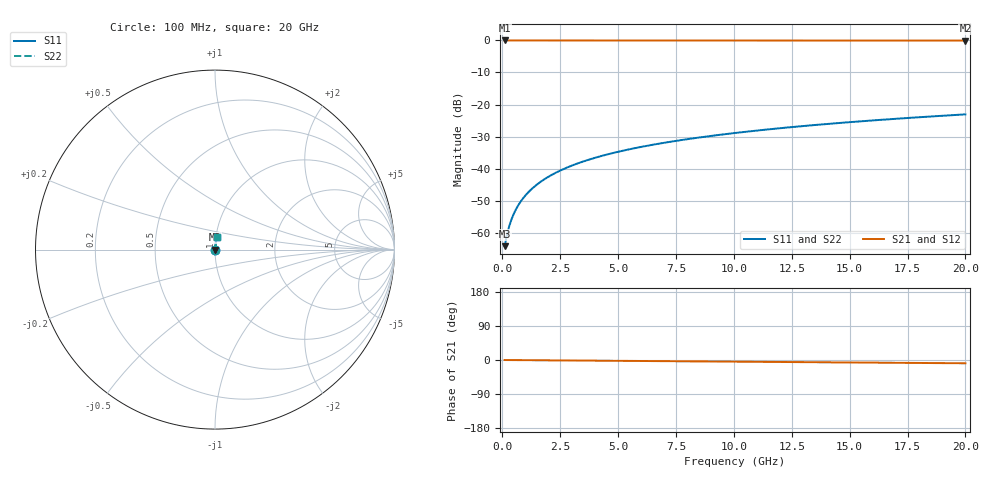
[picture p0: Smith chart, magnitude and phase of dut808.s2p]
! Touchstone file exported from HFSS 2026.1.0
!  File:  C:/ffzhzh/LocalFiles/Ansys_Project_Files/temp_train_TSV_808_1783184231_22436.aedt
!  Generated:  12:58:58 AM Jul  5, 2026
!  Design:  TSV
!  Project:  temp_train_TSV_808_1783184231_22436
! Variables:
!  h_bsmrdl = 2um
!  h_ox = 20um
!  h_rdl = 5um
!  h_sub = 75.9um
!  h_tmrdl = 5um
!  h_tsv = 75.9um
!  h_via = 3um
!  l_bsmrdl = 300um
!  l_sub = 408.84um
!  l_tmrdl = 200um
!  m_sub = 200um
!  pitch = 37.96um
!  r_tsv = 4.42um
!  s_tmrdl = 10um
!  w_bsmrdl = 18um
!  w_sub = 500um
!  w_tmrdl = 12um
!  x_tsv_center1 = 206um
!  x_tsv_center2 = 524um
!  x_tsv_center3 = 736um
!  x_tsv_center4 = 1054um
!  x_tsv_center5 = 1266um
!  x_tsv_center6 = 1584um
# GHz S MA R 50.000000
! Terminal data exported
! Port[1] = TSV1_1_T1
! Port[2] = TSV1_1_T2
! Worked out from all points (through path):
!   200 points, 100 MHz to 20 GHz, reference 50 ohm
!   highest |S21| = 0.00 dB at 100 MHz (marker M1); lowest = 0.0 dB at 20 GHz (marker M2)
!   group delay of S21, straight-line fit = 1.2 ps
!   lowest |S11| = -64.2 dB at 100 MHz (marker M3), VSWR 1.00, Z = 50 + j0.0392 ohm
!   |S11| at or under -10 dB: start of sweep to end of sweep
!   |S22| runs from -64.2 to -23.1 dB; largest |S21 - S12| = 5.5e-15
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0.1  0.000616 39.5  0.9995 -0.0  0.9995 -0.0  0.000616 39.5
! Gamma 0 0 0 0
! Port Impedance 50 0 50 0
0.2  0.0009188 58.0  0.9995 -0.1  0.9995 -0.1  0.0009188 58.0
0.3  0.001265 66.6  0.9995 -0.1  0.9995 -0.1  0.001265 66.6
0.4  0.001624 71.4  0.9995 -0.2  0.9995 -0.2  0.001624 71.4
0.5  0.001987 74.4  0.9995 -0.2  0.9995 -0.2  0.001987 74.4
0.6  0.002351 76.5  0.9995 -0.3  0.9995 -0.3  0.002351 76.5
0.8  0.003082 79.1  0.9994 -0.4  0.9994 -0.4  0.003082 79.1
1.1  0.004183 81.4  0.9994 -0.5  0.9994 -0.5  0.004183 81.4
1.5  0.005653 82.9  0.9993 -0.7  0.9993 -0.7  0.005653 82.9
1.8  0.006755 83.5  0.9993 -0.8  0.9993 -0.8  0.006755 83.5
2.1  0.007855 83.9  0.9993 -0.9  0.9993 -0.9  0.007855 83.9
2.7  0.01004 84.3  0.9992 -1.2  0.9992 -1.2  0.01004 84.3
3.5  0.01294 84.5  0.999 -1.6  0.999 -1.6  0.01294 84.5
4.2  0.01545 84.4  0.9989 -1.9  0.9989 -1.9  0.01545 84.4
5  0.01829 84.3  0.9987 -2.2  0.9987 -2.2  0.01829 84.3
5.9  0.02147 84.1  0.9985 -2.6  0.9985 -2.6  0.02147 84.1
6.8  0.02463 83.9  0.9984 -3.0  0.9984 -3.0  0.02463 83.9
8.3  0.02987 83.5  0.9981 -3.6  0.9981 -3.6  0.02987 83.5
10.1  0.03613 83.0  0.9977 -4.4  0.9977 -4.4  0.03613 83.0
13.4  0.04756 81.9  0.997 -5.8  0.997 -5.8  0.04756 81.9
16.7  0.05891 80.7  0.9962 -7.3  0.9962 -7.3  0.05891 80.7
20  0.07017 79.5  0.9952 -8.7  0.9952 -8.7  0.07017 79.5
